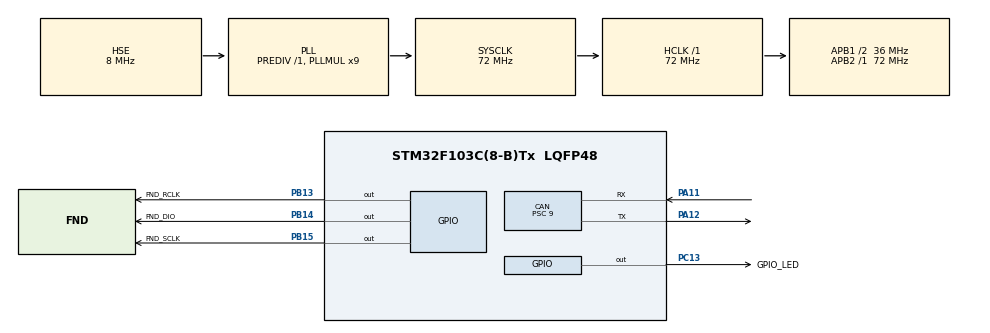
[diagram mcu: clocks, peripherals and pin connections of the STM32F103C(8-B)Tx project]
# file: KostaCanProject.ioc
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CAN.BS1=CAN_BS1_5TQ
CAN.BS2=CAN_BS2_2TQ
CAN.CalculateBaudRate=500000
CAN.CalculateTimeBit=2000
CAN.CalculateTimeQuantum=250.0
CAN.Prescaler=9
FREERTOS.Tasks01=defaultTask,0,256,StartDefaultTask,Default,NULL,Dynamic,NULL,NULL;myTask02,-3,256,StartTask02,Default,NULL,Dynamic,NULL,NULL
FREERTOS.configUSE_NEWLIB_REENTRANT=1
Mcu.Family=STM32F1
Mcu.Name=STM32F103C(8-B)Tx
Mcu.Package=LQFP48
NVIC.PriorityGroup=NVIC_PRIORITYGROUP_4
NVIC.TIM4_IRQn=true\:15\:0\:false\:false\:true\:false\:false\:true\:true
NVIC.TimeBase=TIM4_IRQn
NVIC.TimeBaseIP=TIM4
NVIC.USB_LP_CAN1_RX0_IRQn=true\:5\:0\:false\:false\:true\:true\:true\:true\:true
PA11.Mode=CAN_Activate
PA11.Signal=CAN_RX
PA12.Mode=CAN_Activate
PA12.Signal=CAN_TX
PA13.Mode=Serial_Wire
PA13.Signal=SYS_JTMS-SWDIO
PA14.Mode=Serial_Wire
PA14.Signal=SYS_JTCK-SWCLK
PB13.GPIO_Label=FND_RCLK
PB13.GPIO_ModeDefaultOutputPP=GPIO_MODE_OUTPUT_PP
PB13.GPIO_PuPd=GPIO_PULLUP
PB13.GPIO_Speed=GPIO_SPEED_FREQ_HIGH
PB13.PinState=GPIO_PIN_SET
PB13.Signal=GPIO_Output
PB14.GPIO_Label=FND_DIO
PB14.GPIO_ModeDefaultOutputPP=GPIO_MODE_OUTPUT_PP
PB14.GPIO_PuPd=GPIO_PULLUP
PB14.GPIO_Speed=GPIO_SPEED_FREQ_HIGH
PB14.PinState=GPIO_PIN_SET
PB14.Signal=GPIO_Output
PB15.GPIO_Label=FND_SCLK
PB15.GPIO_PuPd=GPIO_PULLUP
PB15.GPIO_Speed=GPIO_SPEED_FREQ_HIGH
PB15.PinState=GPIO_PIN_SET
PB15.Signal=GPIO_Output
PC13-TAMPER-RTC.GPIO_Label=GPIO_LED
PC13-TAMPER-RTC.GPIO_ModeDefaultOutputPP=GPIO_MODE_OUTPUT_PP
PC13-TAMPER-RTC.GPIO_PuPd=GPIO_PULLUP
PC13-TAMPER-RTC.GPIO_Speed=GPIO_SPEED_FREQ_HIGH
PC13-TAMPER-RTC.PinState=GPIO_PIN_SET
PC13-TAMPER-RTC.Signal=GPIO_Output
PD0-OSC_IN.Mode=HSE-External-Oscillator
PD0-OSC_IN.Signal=RCC_OSC_IN
PD1-OSC_OUT.Mode=HSE-External-Oscillator
PD1-OSC_OUT.Signal=RCC_OSC_OUT
ProjectManager.HeapSize=0x200
ProjectManager.StackSize=0x400
ProjectManager.TargetToolchain=STM32CubeIDE
RCC.AHBFreq_Value=72000000
RCC.APB1CLKDivider=RCC_HCLK_DIV2
RCC.APB1Freq_Value=36000000
RCC.APB1TimFreq_Value=72000000
RCC.APB2Freq_Value=72000000
RCC.APB2TimFreq_Value=72000000
RCC.HCLKFreq_Value=72000000
RCC.PLLMUL=RCC_PLL_MUL9
RCC.PLLSourceVirtual=RCC_PLLSOURCE_HSE
RCC.SYSCLKFreq_VALUE=72000000
RCC.SYSCLKSource=RCC_SYSCLKSOURCE_PLLCLK
RCC.USBFreq_Value=72000000
VP_FREERTOS_VS_CMSIS_V1.Mode=CMSIS_V1
VP_SYS_VS_tim4.Mode=TIM4
board=custom

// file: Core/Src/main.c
/* USER CODE BEGIN Header */
/**
  ******************************************************************************
  * @file           : main.c
  * @brief          : Main program body
  ******************************************************************************
  * @attention
  *
  * Copyright (c) 2024 STMicroelectronics.
  * All rights reserved.
  *
  * This software is licensed under terms that can be found in the LICENSE file
  * in the root directory of this software component.
  * If no LICENSE file comes with this software, it is provided AS-IS.
  *
  ******************************************************************************
  */
/* USER CODE END Header */
#include "main.h"
#include "cmsis_os.h"
#include "can.h"
#include "fnd_controller.h"
#include "gpio.h"

/* USER CODE BEGIN PV */
extern uint8_t _LED_0F[29];

/* USER CODE END PV */

void SystemClock_Config(void);
void MX_FREERTOS_Init(void);
/* USER CODE BEGIN PFP */
//int _write(int file, char *p, int len);
/* USER CODE END PFP */

int main(void)
{

  /* USER CODE BEGIN 1 */
	FND_INIT();

  /* USER CODE END 1 */

  /* MCU Configuration--------------------------------------------------------*/

  /* Reset of all peripherals, Initializes the Flash interface and the Systick. */
  HAL_Init();

  /* Configure the system clock */
  SystemClock_Config();

  /* Initialize all configured peripherals */
  MX_GPIO_Init();
  MX_CAN_Init();

  /* Call init function for freertos objects (in cmsis_os2.c) */
  MX_FREERTOS_Init();

  /* Start scheduler */
  osKernelStart();

  /* We should never get here as control is now taken by the scheduler */

  /* Infinite loop */
  while (1)
  {
  }
}

void SystemClock_Config(void)
{
  RCC_OscInitTypeDef RCC_OscInitStruct = {0};
  RCC_ClkInitTypeDef RCC_ClkInitStruct = {0};

  /** Initializes the RCC Oscillators according to the specified parameters
  * in the RCC_OscInitTypeDef structure.
  */
  RCC_OscInitStruct.OscillatorType = RCC_OSCILLATORTYPE_HSE;
  RCC_OscInitStruct.HSEState = RCC_HSE_ON;
  RCC_OscInitStruct.HSEPredivValue = RCC_HSE_PREDIV_DIV1;
  RCC_OscInitStruct.HSIState = RCC_HSI_ON;
  RCC_OscInitStruct.PLL.PLLState = RCC_PLL_ON;
  RCC_OscInitStruct.PLL.PLLSource = RCC_PLLSOURCE_HSE;
  RCC_OscInitStruct.PLL.PLLMUL = RCC_PLL_MUL9;
  if (HAL_RCC_OscConfig(&RCC_OscInitStruct) != HAL_OK)
  {
    Error_Handler();
  }

  /** Initializes the CPU, AHB and APB buses clocks
  */
  RCC_ClkInitStruct.ClockType = RCC_CLOCKTYPE_HCLK|RCC_CLOCKTYPE_SYSCLK
                              |RCC_CLOCKTYPE_PCLK1|RCC_CLOCKTYPE_PCLK2;
  RCC_ClkInitStruct.SYSCLKSource = RCC_SYSCLKSOURCE_PLLCLK;
  RCC_ClkInitStruct.AHBCLKDivider = RCC_SYSCLK_DIV1;
  RCC_ClkInitStruct.APB1CLKDivider = RCC_HCLK_DIV2;
  RCC_ClkInitStruct.APB2CLKDivider = RCC_HCLK_DIV1;

  if (HAL_RCC_ClockConfig(&RCC_ClkInitStruct, FLASH_LATENCY_2) != HAL_OK)
  {
    Error_Handler();
  }
}

void HAL_TIM_PeriodElapsedCallback(TIM_HandleTypeDef *htim)
{
  if (htim->Instance == TIM4) {
    HAL_IncTick();
  }
}

void Error_Handler(void)
{
  __disable_irq();
  while (1)
  {
  }
}

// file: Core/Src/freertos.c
/* USER CODE BEGIN Header */
/**
  ******************************************************************************
  * File Name          : freertos.c
  * Description        : Code for freertos applications
  ******************************************************************************
  * @attention
  *
  * Copyright (c) 2024 STMicroelectronics.
  * All rights reserved.
  *
  * This software is licensed under terms that can be found in the LICENSE file
  * in the root directory of this software component.
  * If no LICENSE file comes with this software, it is provided AS-IS.
  *
  ******************************************************************************
  */
/* USER CODE END Header */

#include "FreeRTOS.h"
#include "task.h"
#include "main.h"
#include "cmsis_os.h"

/* USER CODE BEGIN Includes */
#include "fnd_controller.h"
/* USER CODE END Includes */

/* USER CODE BEGIN Variables */
extern CAN_HandleTypeDef hcan;
extern uint8_t_LED_0F[29];
uint8_t Velocity;

CAN_RxHeaderTypeDef rxHeader; //CAN Bus Transmit Header
CAN_TxHeaderTypeDef txHeader; //CAN Bus Receive Header

uint8_t canData[8];  //CAN Bus Receive Buffer
uint8_t canRX[8];
uint8_t csend[] = {0x01,0x02,0x03,0x04,0x05,0x06,0x07,0x08};

CAN_FilterTypeDef canfil; //CAN Bus Filter
uint32_t canMailbox; //CAN Bus Mail box variable

/* USER CODE END Variables */
osThreadId defaultTaskHandle;
osThreadId myTask02Handle;

void StartDefaultTask(void const * argument);
void StartTask02(void const * argument);

void MX_FREERTOS_Init(void); /* (MISRA C 2004 rule 8.1) */

/* GetIdleTaskMemory prototype (linked to static allocation support) */
void vApplicationGetIdleTaskMemory( StaticTask_t **ppxIdleTaskTCBBuffer, StackType_t **ppxIdleTaskStackBuffer, uint32_t *pulIdleTaskStackSize );

/* USER CODE BEGIN GET_IDLE_TASK_MEMORY */
static StaticTask_t xIdleTaskTCBBuffer;
static StackType_t xIdleStack[configMINIMAL_STACK_SIZE];

void vApplicationGetIdleTaskMemory( StaticTask_t **ppxIdleTaskTCBBuffer, StackType_t **ppxIdleTaskStackBuffer, uint32_t *pulIdleTaskStackSize )
{
  *ppxIdleTaskTCBBuffer = &xIdleTaskTCBBuffer;
  *ppxIdleTaskStackBuffer = &xIdleStack[0];
  *pulIdleTaskStackSize = configMINIMAL_STACK_SIZE;
  /* place for user code */
}
/* USER CODE END GET_IDLE_TASK_MEMORY */

void MX_FREERTOS_Init(void) {

  /* Create the thread(s) */
  /* definition and creation of defaultTask */
  osThreadDef(defaultTask, StartDefaultTask, osPriorityNormal, 0, 256);
  defaultTaskHandle = osThreadCreate(osThread(defaultTask), NULL);

  /* definition and creation of myTask02 */
  osThreadDef(myTask02, StartTask02, osPriorityIdle, 0, 256);
  myTask02Handle = osThreadCreate(osThread(myTask02), NULL);

}

void StartDefaultTask(void const * argument)
{
  /* USER CODE BEGIN StartDefaultTask */
  /* Infinite loop */
		  canfil.FilterBank = 0;
		  canfil.FilterMode = CAN_FILTERMODE_IDMASK;
		  canfil.FilterFIFOAssignment = CAN_RX_FIFO0;
		  canfil.FilterIdHigh = 0;
		  canfil.FilterIdLow = 0;
		  canfil.FilterMaskIdHigh = 0;
		  canfil.FilterMaskIdLow = 0;
		  canfil.FilterScale = CAN_FILTERSCALE_32BIT;
		  canfil.FilterActivation = ENABLE;
		  canfil.SlaveStartFilterBank = 14;

		  txHeader.DLC = 8;
		  txHeader.IDE = CAN_ID_STD;
		  txHeader.RTR = CAN_RTR_DATA;
		  txHeader.StdId = 0x77;
		  //txHeader.ExtId = 0x02;
		  txHeader.TransmitGlobalTime = DISABLE;

		  HAL_CAN_ConfigFilter(&hcan,&canfil);
		  HAL_CAN_Start(&hcan);
		  HAL_CAN_ActivateNotification(&hcan,CAN_IT_RX_FIFO0_MSG_PENDING);

		  /* Infinite loop */
		  for(;;)
		  {
			  Velocity = canData[1];
			  uint8_t tmp = Velocity;
			  if (canData[0] >= 0 && canData[0] <=10) tmp = 0;
			  else if (canData[0] > 10 && canData[0] <= 20) tmp = 10;
			  else if (canData[0] > 20 && canData[0] <= 30) tmp = 15;
			  else if (canData[0] > 30 && canData[0] <= 40) tmp = 20;
			  else if (canData[0] > 40 && canData[0] <= 50) tmp = 25;
			  else{
				  continue;
			  }

			  uint8_t csend[] = {canData[0], tmp, 0, 0, 0, 0 , 0 , 0};
			  HAL_CAN_AddTxMessage(&hcan,&txHeader,csend,&canMailbox);

			  //HAL_GPIO_TogglePin(GPIOC, GPIO_PIN_13);

			  osDelay(1000);
		  }

  /* USER CODE END StartDefaultTask */
}

void StartTask02(void const * argument)
{
  /* USER CODE BEGIN StartTask02 */
	//functionIdle();

  /* Infinite loop */
  for(;;)
  {

	  //HAL_GPIO_TogglePin(GPIOC, GPIO_PIN_13);

	  osDelay(1000);
  }
  /* USER CODE END StartTask02 */
}

/* USER CODE BEGIN Application */
void HAL_CAN_RxFifo0MsgPendingCallback(CAN_HandleTypeDef *hcan1)
{
	HAL_CAN_GetRxMessage(hcan1, CAN_RX_FIFO0, &rxHeader, canRX);
	for(int i = 0; i<2; i++){
		canData[i] = canRX[i];
	}
	HAL_GPIO_TogglePin(GPIOC, GPIO_PIN_13);

	//if (rxHeader.StdId == 0x0F6) {
		//HAL_GPIO_TogglePin(GPIOC, GPIO_PIN_13);
	//}

}

/* USER CODE END Application */
